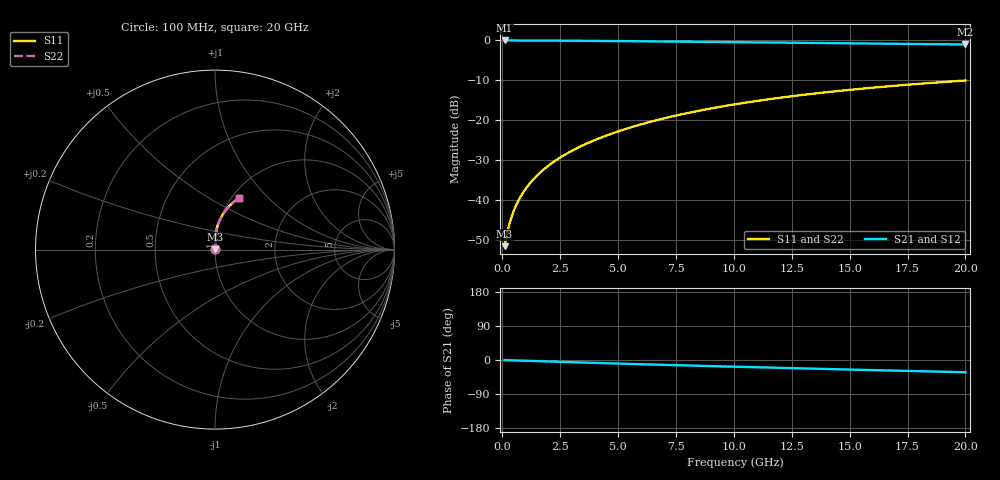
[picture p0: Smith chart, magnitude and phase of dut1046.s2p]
! Touchstone file exported from HFSS 2024.1.0
!  File:  C:/UserFiles/LocalFiles/RDL_TSV_Batchsim/temp_RDL_bottom_1046_1780051725.aedt
!  Generated:  06:51:17 PM May 29, 2026
!  Design:  RDL_bottom
!  Project:  temp_RDL_bottom_1046_1780051725
!  Setup:  Setup1
!  Solution:  Sweep
! Variables:
!  dtsv = 10.80580581um
!  hbump = 3um
!  htsv = 63.33um
!  ldown = 424.95um
!  lrdl = 100um
!  p = 40
!  p1 = 57.71um
!  rhole = 1um
!  t = 450um
!  tdown = 2.94um
!  trdl = 3.915915916um
!  wdown = 26.33um
!  wrdl = 20um
# GHz S MA R 50.000000
! Terminal data exported
! Port[1] = RDL1_T1
! Port[2] = RDL1_T2
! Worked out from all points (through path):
!   200 points, 100 MHz to 20 GHz, reference 50 ohm
!   highest |S21| = -0.02 dB at 100 MHz (marker M1); lowest = -1.0 dB at 20 GHz (marker M2)
!   group delay of S21, straight-line fit = 4.44 ps
!   lowest |S11| = -51.4 dB at 100 MHz (marker M3), VSWR 1.01, Z = 50.2 + j0.15 ohm
!   |S11| at or under -10 dB: start of sweep to end of sweep
!   |S22| runs from -51.4 to -10.0 dB; largest |S21 - S12| = 3.3e-15
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0.1  0.002681 33.9  0.9978 -0.2  0.9978 -0.2  0.002681 33.9
! Gamma 0 0 0 0
! Port Impedance 50 0 50 0
0.2  0.003748 51.8  0.9976 -0.4  0.9976 -0.4  0.003748 51.8
0.3  0.004967 60.8  0.9975 -0.6  0.9975 -0.6  0.004967 60.8
0.4  0.006215 66.1  0.9973 -0.8  0.9973 -0.8  0.006215 66.1
0.5  0.007468 69.8  0.9972 -1.0  0.9972 -1.0  0.007468 69.8
0.6  0.008726 72.5  0.997 -1.2  0.997 -1.2  0.008726 72.5
0.8  0.01127 76.4  0.9967 -1.6  0.9967 -1.6  0.01127 76.4
1.1  0.01516 80.1  0.9961 -2.2  0.9961 -2.2  0.01516 80.1
1.3  0.0178 81.7  0.9957 -2.6  0.9957 -2.6  0.0178 81.7
1.6  0.02182 83.6  0.995 -3.1  0.995 -3.1  0.02182 83.6
2.1  0.0287 85.6  0.9936 -4.1  0.9936 -4.1  0.02871 85.6
2.7  0.03725 87.0  0.9914 -5.2  0.9914 -5.2  0.03725 87.0
3.5  0.04914 88.0  0.988 -6.7  0.988 -6.7  0.04914 88.0
4.2  0.05998 88.2  0.9845 -8.0  0.9845 -8.0  0.05999 88.2
5  0.07282 88.0  0.9802 -9.4  0.9802 -9.4  0.07282 88.0
5.9  0.08771 87.4  0.975 -11.0  0.975 -11.0  0.08772 87.4
6.8  0.103 86.4  0.9697 -12.5  0.9697 -12.5  0.103 86.4
8.4  0.1305 84.2  0.96 -15.1  0.96 -15.1  0.1305 84.3
10.1  0.1598 81.5  0.9495 -17.8  0.9495 -17.8  0.1598 81.5
13.4  0.2152 76.0  0.9293 -22.9  0.9293 -22.9  0.2153 76.0
16.7  0.2672 70.5  0.909 -27.7  0.909 -27.7  0.2673 70.5
20  0.3151 65.2  0.8883 -32.3  0.8883 -32.3  0.3152 65.2
